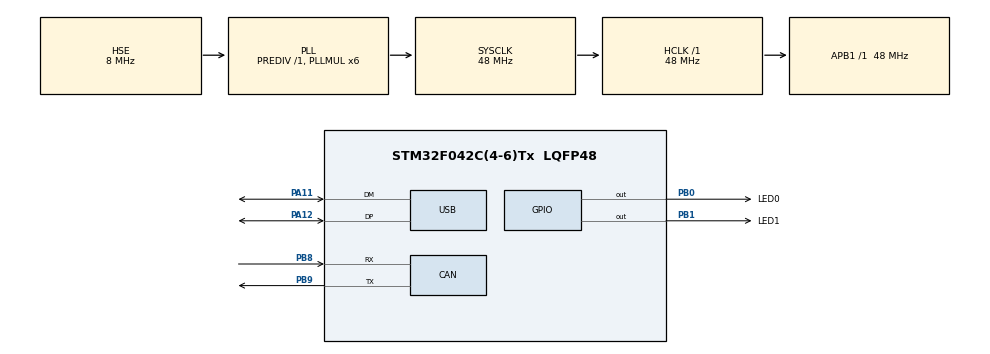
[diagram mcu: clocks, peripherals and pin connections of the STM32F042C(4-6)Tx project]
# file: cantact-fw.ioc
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CAN.CalculateTimeBit=1000
CAN.CalculateTimeQuantum=333.3333333333333
Mcu.Family=STM32F0
Mcu.Name=STM32F042C(4-6)Tx
Mcu.Package=LQFP48
NVIC.USB_IRQn=true\:0\:0\:false\:false\:true
PA11.Mode=Device
PA11.Signal=USB_DM
PA12.Mode=Device
PA12.Signal=USB_DP
PA13.Mode=Serial_Wire
PA13.Signal=SYS_SWDIO
PA14.Mode=Serial_Wire
PA14.Signal=SYS_SWCLK
PB0.GPIO_Label=LED0
PB0.Signal=GPIO_Output
PB1.GPIO_Label=LED1
PB1.Signal=GPIO_Output
PB8.Mode=Master
PB8.Signal=CAN_RX
PB9.Mode=Master
PB9.Signal=CAN_TX
PF0-OSC_IN.Mode=HSE-External-Oscillator
PF0-OSC_IN.Signal=RCC_OSC_IN
PF1-OSC_OUT.Mode=HSE-External-Oscillator
PF1-OSC_OUT.Signal=RCC_OSC_OUT
ProjectManager.HeapSize=0x200
ProjectManager.StackSize=0x400
ProjectManager.TargetToolchain=SW4STM32
RCC.AHBFreq_Value=48000000
RCC.APB1Freq_Value=48000000
RCC.APB1TimFreq_Value=48000000
RCC.HCLKFreq_Value=48000000
RCC.HSIState=RCC_HSI_ON
RCC.PLLMUL=RCC_PLL_MUL6
RCC.SYSCLKFreq_VALUE=48000000
RCC.SYSCLKSource=RCC_SYSCLKSOURCE_PLLCLK
RCC.USBClockSelection=RCC_USBCLKSOURCE_PLL
USB_DEVICE.CLASS_NAME_FS=CDC
USB_DEVICE.USBD_HandleTypeDef=hUsbDeviceFS
USB_DEVICE.VirtualMode=Cdc
USB_DEVICE.VirtualModeFS=Cdc_FS
VP_USB_DEVICE_VS_USB_DEVICE_CDC_FS.Mode=CDC_FS
board=cantact-fw

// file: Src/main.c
/**
  ******************************************************************************
  * File Name          : main.c
  * Description        : Main program body
  ******************************************************************************
  *
  * Copyright (c) 2016 STMicroelectronics International N.V.
  * All rights reserved.
  *
  * Redistribution and use in source and binary forms, with or without
  * modification, are permitted, provided that the following conditions are met:
  *
  * 1. Redistribution of source code must retain the above copyright notice,
  *    this list of conditions and the following disclaimer.
  * 2. Redistributions in binary form must reproduce the above copyright notice,
  *    this list of conditions and the following disclaimer in the documentation
  *    and/or other materials provided with the distribution.
  * 3. Neither the name of STMicroelectronics nor the names of other
  *    contributors to this software may be used to endorse or promote products
  *    derived from this software without specific written permission.
  * 4. This software, including modifications and/or derivative works of this
  *    software, must execute solely and exclusively on microcontroller or
  *    microprocessor devices manufactured by or for STMicroelectronics.
  * 5. Redistribution and use of this software other than as permitted under
  *    this license is void and will automatically terminate your rights under
  *    this license.
  *
  * THIS SOFTWARE IS PROVIDED BY STMICROELECTRONICS AND CONTRIBUTORS "AS IS"
  * AND ANY EXPRESS, IMPLIED OR STATUTORY WARRANTIES, INCLUDING, BUT NOT
  * LIMITED TO, THE IMPLIED WARRANTIES OF MERCHANTABILITY, FITNESS FOR A
  * PARTICULAR PURPOSE AND NON-INFRINGEMENT OF THIRD PARTY INTELLECTUAL PROPERTY
  * RIGHTS ARE DISCLAIMED TO THE FULLEST EXTENT PERMITTED BY LAW. IN NO EVENT
  * SHALL STMICROELECTRONICS OR CONTRIBUTORS BE LIABLE FOR ANY DIRECT, INDIRECT,
  * INCIDENTAL, SPECIAL, EXEMPLARY, OR CONSEQUENTIAL DAMAGES (INCLUDING, BUT NOT
  * LIMITED TO, PROCUREMENT OF SUBSTITUTE GOODS OR SERVICES; LOSS OF USE, DATA,
  * OR PROFITS; OR BUSINESS INTERRUPTION) HOWEVER CAUSED AND ON ANY THEORY OF
  * LIABILITY, WHETHER IN CONTRACT, STRICT LIABILITY, OR TORT (INCLUDING
  * NEGLIGENCE OR OTHERWISE) ARISING IN ANY WAY OUT OF THE USE OF THIS SOFTWARE,
  * EVEN IF ADVISED OF THE POSSIBILITY OF SUCH DAMAGE.
  *
  ******************************************************************************
  */
#include "main.h"
#include "stm32f0xx_hal.h"
#include "can.h"
#include "usb_device.h"
#include "gpio.h"

/* USER CODE BEGIN Includes */
#include "led.h"
#include "slcan.h"
/* USER CODE END Includes */

/* USER CODE BEGIN PV */
/* Private variables ---------------------------------------------------------*/

/* USER CODE END PV */

void SystemClock_Config(void);
void Error_Handler(void);

/* USER CODE BEGIN PFP */
/* Private function prototypes -----------------------------------------------*/

/* USER CODE END PFP */

/* USER CODE BEGIN 0 */
volatile int i=0;
/* USER CODE END 0 */

int main(void)
{

  /* MCU Configuration----------------------------------------------------------*/

  /* Reset of all peripherals, Initializes the Flash interface and the Systick. */
  HAL_Init();

  /* Configure the system clock */
  SystemClock_Config();

  /* Initialize all configured peripherals */
  MX_GPIO_Init();
  MX_CAN_Init();
  MX_USB_DEVICE_Init();

  /* USER CODE BEGIN 2 */
  can_init();

  // turn on green LED
  HAL_GPIO_WritePin(GPIOB, GPIO_PIN_0, GPIO_PIN_SET);

  // blink red LED for test
  HAL_GPIO_WritePin(GPIOB, GPIO_PIN_1, GPIO_PIN_SET);
  HAL_Delay(100);
  HAL_GPIO_WritePin(GPIOB, GPIO_PIN_1, GPIO_PIN_RESET);
  HAL_Delay(100);
  HAL_GPIO_WritePin(GPIOB, GPIO_PIN_1, GPIO_PIN_SET);
  HAL_Delay(100);
  HAL_GPIO_WritePin(GPIOB, GPIO_PIN_1, GPIO_PIN_RESET);

  // loop forever
  CanRxMsgTypeDef rx_msg;
  uint32_t status;
  uint8_t msg_buf[SLCAN_MTU];
  /* USER CODE END 2 */

  /* Infinite loop */
  while (1)
  {

  }

}

/** System Clock Configuration
*/
void SystemClock_Config(void)
{

  RCC_OscInitTypeDef RCC_OscInitStruct;
  RCC_ClkInitTypeDef RCC_ClkInitStruct;
  RCC_PeriphCLKInitTypeDef PeriphClkInit;

    /**Initializes the CPU, AHB and APB busses clocks
    */
  RCC_OscInitStruct.OscillatorType = RCC_OSCILLATORTYPE_HSE;
  RCC_OscInitStruct.HSEState = RCC_HSE_ON;
  RCC_OscInitStruct.HSIState = RCC_HSI_ON;
  RCC_OscInitStruct.PLL.PLLState = RCC_PLL_ON;
  RCC_OscInitStruct.PLL.PLLSource = RCC_PLLSOURCE_HSE;
  RCC_OscInitStruct.PLL.PLLMUL = RCC_PLL_MUL6;
  RCC_OscInitStruct.PLL.PREDIV = RCC_PREDIV_DIV1;
  if (HAL_RCC_OscConfig(&RCC_OscInitStruct) != HAL_OK)
  {
    Error_Handler();
  }

    /**Initializes the CPU, AHB and APB busses clocks
    */
  RCC_ClkInitStruct.ClockType = RCC_CLOCKTYPE_HCLK|RCC_CLOCKTYPE_SYSCLK
                              |RCC_CLOCKTYPE_PCLK1;
  RCC_ClkInitStruct.SYSCLKSource = RCC_SYSCLKSOURCE_PLLCLK;
  RCC_ClkInitStruct.AHBCLKDivider = RCC_SYSCLK_DIV1;
  RCC_ClkInitStruct.APB1CLKDivider = RCC_HCLK_DIV1;

  if (HAL_RCC_ClockConfig(&RCC_ClkInitStruct, FLASH_LATENCY_1) != HAL_OK)
  {
    Error_Handler();
  }

  PeriphClkInit.PeriphClockSelection = RCC_PERIPHCLK_USB;
  PeriphClkInit.UsbClockSelection = RCC_USBCLKSOURCE_PLL;

  if (HAL_RCCEx_PeriphCLKConfig(&PeriphClkInit) != HAL_OK)
  {
    Error_Handler();
  }

    /**Configure the Systick interrupt time
    */
  HAL_SYSTICK_Config(HAL_RCC_GetHCLKFreq()/1000);

    /**Configure the Systick
    */
  HAL_SYSTICK_CLKSourceConfig(SYSTICK_CLKSOURCE_HCLK);

  /* SysTick_IRQn interrupt configuration */
  HAL_NVIC_SetPriority(SysTick_IRQn, 0, 0);
}

void Error_Handler(void)
{
  while(1)
  {
  }
}

/************************ (C) COPYRIGHT STMicroelectronics *****END OF FILE****/
